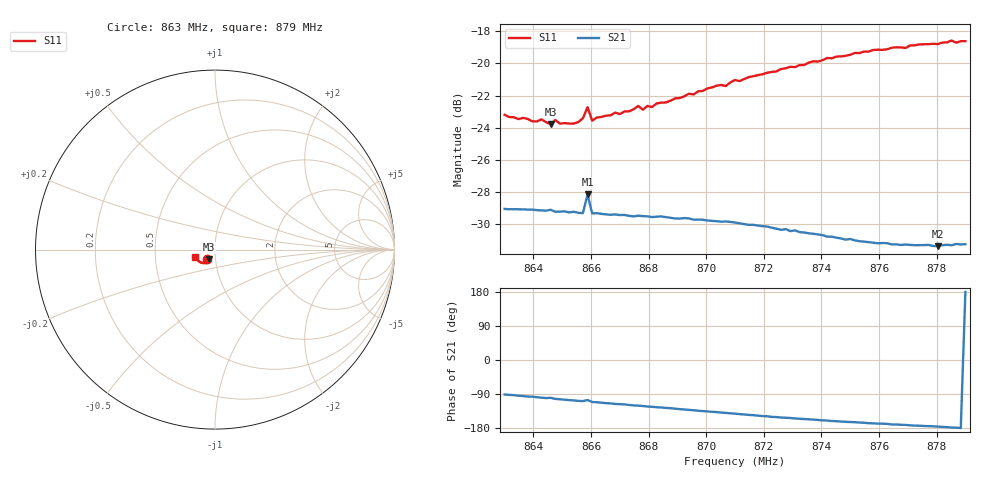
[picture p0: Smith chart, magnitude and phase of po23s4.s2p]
# HZ S RI R 50
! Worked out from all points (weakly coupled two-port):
!   101 points, 863 MHz to 879 MHz, reference 50 ohm
!   highest |S21| = -28.15 dB at 865.88 MHz (marker M1); lowest = -31.4 dB at 878.04 MHz (marker M2)
!   lowest |S11| = -23.8 dB at 864.6 MHz (marker M3), VSWR 1.14, Z = 46.4 - j5.11 ohm
!   |S11| at or under -10 dB: start of sweep to end of sweep
!   S12 and S22 are empty: the file has one direction only
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8.63e8  -0.0438 -0.0535  -0.000637 -0.0353  0 0  0 0
8.6396e8  -0.039 -0.0533  -0.00414 -0.0348  0 0  0 0
8.6428e8  -0.0385 -0.0548  -0.00572 -0.0344  0 0  0 0
8.646e8  -0.0342 -0.0548  -0.00594 -0.0345  0 0  0 0
8.6476e8  -0.0374 -0.0552  -0.00758 -0.0337  0 0  0 0
8.6492e8  -0.036 -0.0541  -0.00812 -0.0336  0 0  0 0
8.654e8  -0.0344 -0.0552  -0.00985 -0.0331  0 0  0 0
8.6572e8  -0.034 -0.0584  -0.0109 -0.0325  0 0  0 0
8.6588e8  -0.0266 -0.0681  -0.0105 -0.0377  0 0  0 0
8.6604e8  -0.0334 -0.0573  -0.0122 -0.0319  0 0  0 0
8.6732e8  -0.0345 -0.062  -0.0161 -0.0295  0 0  0 0
8.6764e8  -0.0359 -0.0644  -0.017 -0.029  0 0  0 0
8.678e8  -0.0335 -0.0635  -0.0175 -0.0286  0 0  0 0
8.6844e8  -0.0364 -0.0662  -0.0193 -0.0273  0 0  0 0
8.7036e8  -0.0439 -0.0731  -0.0238 -0.0219  0 0  0 0
8.7068e8  -0.0442 -0.0727  -0.0246 -0.0209  0 0  0 0
8.71e8  -0.0485 -0.0744  -0.0251 -0.0199  0 0  0 0
8.7372e8  -0.0679 -0.0755  -0.0272 -0.0114  0 0  0 0
8.7644e8  -0.093 -0.0622  -0.0269 -0.00473  0 0  0 0
8.7804e8  -0.1036 -0.0494  -0.0269 -0.00202  0 0  0 0
8.7852e8  -0.1084 -0.0462  -0.0272 -0.000878  0 0  0 0
8.79e8  -0.1106 -0.0389  -0.0274 0.000101  0 0  0 0
